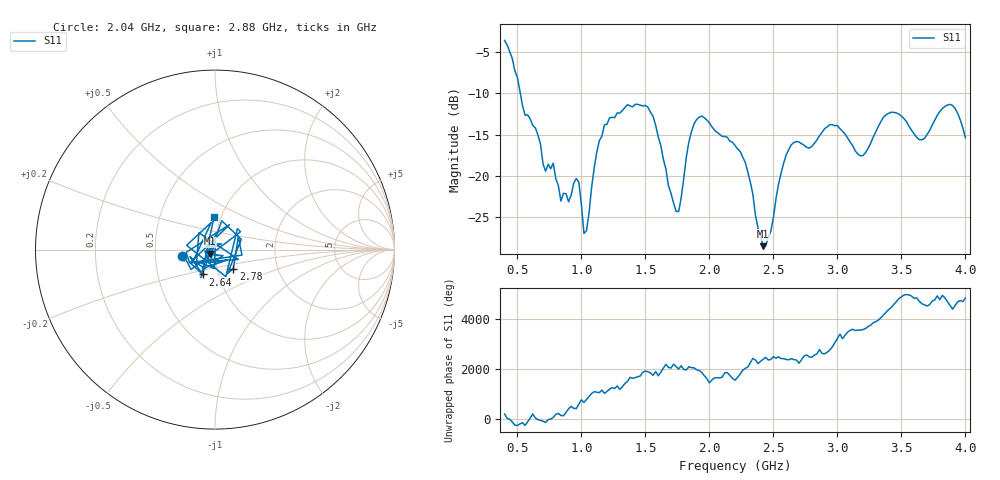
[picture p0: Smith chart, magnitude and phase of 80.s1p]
!Created with skrf (http://scikit-rf.org).
# Hz S RI R 50.0
!freq ReS11 ImS11
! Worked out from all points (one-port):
!   181 points, 400 MHz to 4 GHz, reference 50 ohm
!   lowest |S11| = -28.5 dB at 2.42 GHz (marker M1), VSWR 1.08, Z = 47.1 - j2.15 ohm
!   |S11| at or under -10 dB: 522.7 MHz to end of sweep
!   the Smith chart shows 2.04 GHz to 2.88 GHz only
!   S11 on the Smith chart (normalised r, x): 2.04 GHz: 0.68, -0.05; 2.64 GHz: 0.84, -0.24; 2.78 GHz: 1.20, -0.26; 2.88 GHz: 0.93, +0.35
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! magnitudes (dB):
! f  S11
! 400 MHz  -3.6
! 720 MHz  -19.4
! 780 MHz  -18.5
! 840 MHz  -23.1
! 860 MHz  -22.1
! 980 MHz  -20.8
! 1.02 GHz  -27.0
! 1.04 GHz  -26.6
! 1.14 GHz  -15.7
! 1.3 GHz  -12.4
! 1.52 GHz  -11.7
! 1.76 GHz  -24.3
! 1.88 GHz  -13.7
! 2.04 GHz  -14.5
! 2.2 GHz  -16.3
! 2.28 GHz  -18.4
! 2.42 GHz  -28.5
! 2.64 GHz  -16.2
! 2.66 GHz  -16.0
! 2.78 GHz  -16.6
! 2.88 GHz  -14.7
! 3.1 GHz  -15.9
! 3.2 GHz  -17.5
! 3.42 GHz  -12.3
! 3.56 GHz  -14.0
! 3.68 GHz  -15.5
! 3.88 GHz  -11.3
! 4 GHz  -15.4
